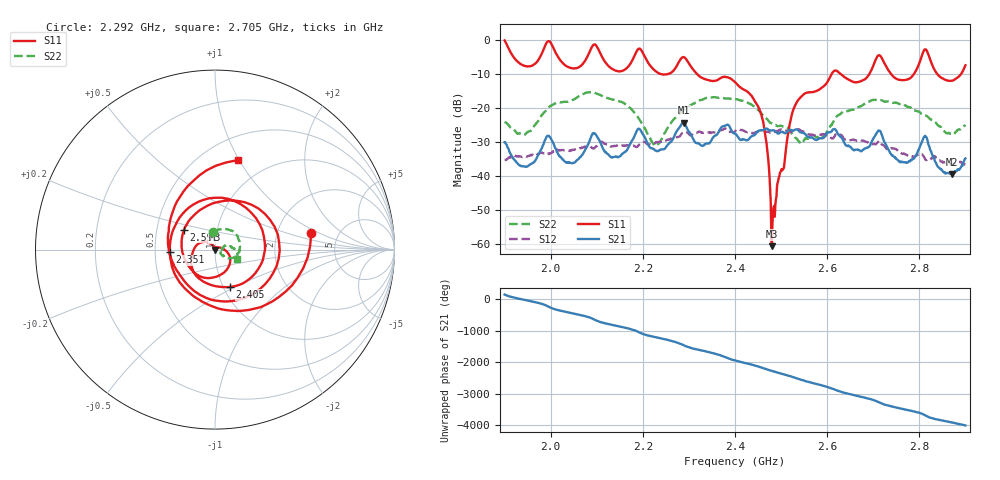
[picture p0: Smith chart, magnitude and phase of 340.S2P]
! C:\Users\rflab\Downloads\Lab5_KD_ZW\340.S2P
! Touchstone 1.1 file saved by VNA.EXE V1.65 (www.ke5fx.com/gpib/readme.htm)
! 11/12/2024 12:34:27 AM
!  Source: HEWLETT PACKARD,8753D,0,6.14
!  Min freq: 1.900000E+009 Hz
!  Max freq: 2.900000E+009 Hz
!  Points: 801
!  Params: S11 S21 S12 S22
# GHZ S RI R 50
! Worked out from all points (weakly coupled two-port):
!   801 points, 1.9 GHz to 2.9 GHz, reference 50 ohm
!   highest |S21| = -24.16 dB at 2.289 GHz (marker M1); lowest = -39.3 dB at 2.871 GHz (marker M2)
!   lowest |S11| = -60.5 dB at 2.48 GHz (marker M3), VSWR 1.00, Z = 50.1 - j0.0698 ohm
!   |S11| at or under -10 dB: 2.318 GHz to 2.609 GHz (291 MHz wide, 11.8 % of centre); 2.63 GHz to 2.691 GHz (61.01 MHz wide, 2.29 % of centre); 2.84 GHz to 2.89 GHz (50.4 MHz wide, 1.76 % of centre) (the widest 3 of 5)
!   |S22| runs from -31.0 to -15.3 dB; largest |S21 - S12| = 0.022
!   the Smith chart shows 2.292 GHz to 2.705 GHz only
!   S11 on the Smith chart (normalised r, x): 2.292 GHz: 3.14, +0.83; 2.351 GHz: 0.60, -0.02; 2.405 GHz: 1.08, -0.47; 2.59 GHz: 0.69, +0.16; 2.705 GHz: 0.73, +0.99
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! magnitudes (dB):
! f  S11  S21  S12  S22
! 1.9 GHz  0.0  -29.9  -35.2  -24.0
! 1.94 GHz  -7.3  -37.0  -34.2  -27.7
! 1.994 GHz  -0.3  -28.1  -33.3  -20.0
! 2.067 GHz  -7.3  -33.8  -31.7  -16.0
! 2.191 GHz  -2.4  -26.0  -30.7  -23.0
! 2.234 GHz  -9.6  -32.5  -29.9  -30.4
! 2.289 GHz  -4.9  -24.2  -27.1  -20.5
! 2.292 GHz  -5.3  -24.9  -27.2  -20.1
! 2.351 GHz  -12.0  -28.8  -27.1  -16.7
! 2.4 GHz  -12.3  -27.5  -26.8  -17.3
! 2.405 GHz  -13.0  -28.1  -26.1  -17.3
! 2.458 GHz  -22.0  -26.5  -26.5  -21.5
! 2.48 GHz  -60.5  -26.5  -27.3  -24.4
! 2.526 GHz  -20.5  -26.5  -26.6  -28.0
! 2.567 GHz  -15.2  -28.6  -27.8  -27.9
! 2.59 GHz  -13.8  -28.8  -27.6  -28.1
! 2.705 GHz  -5.8  -27.8  -30.6  -17.5
! 2.734 GHz  -9.0  -32.2  -31.9  -18.0
! 2.777 GHz  -11.3  -35.5  -33.9  -19.6
! 2.812 GHz  -2.7  -28.1  -34.9  -22.1
! 2.871 GHz  -11.9  -39.3  -36.4  -27.7
! 2.9 GHz  -7.3  -34.7  -36.6  -24.8
